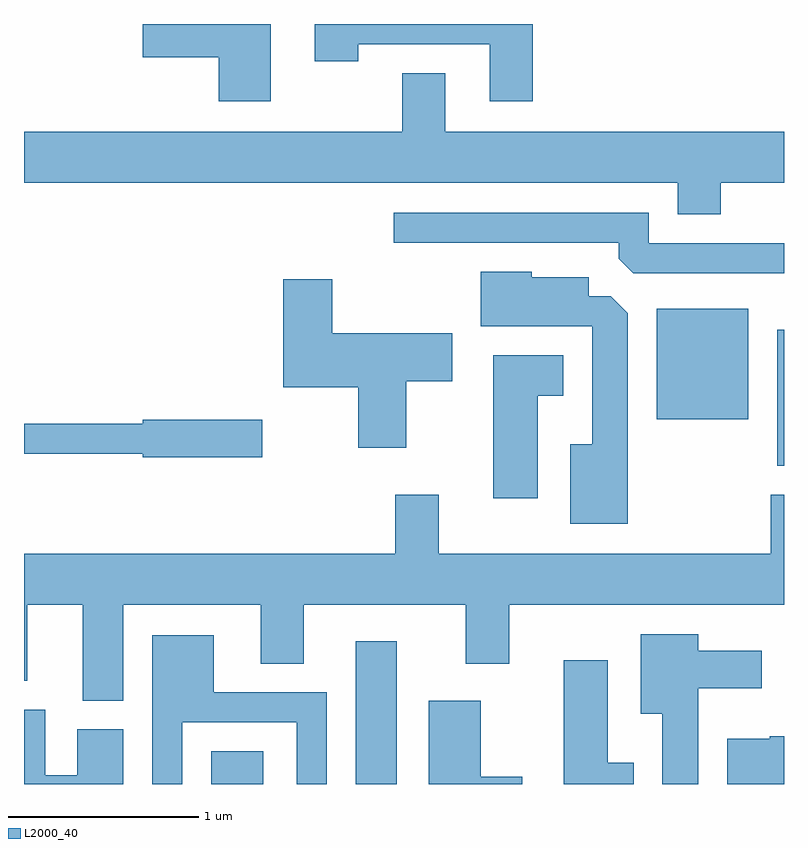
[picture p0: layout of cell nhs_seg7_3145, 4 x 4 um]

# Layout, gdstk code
import gdstk
lib = gdstk.Library(unit=1e-6, precision=1e-09)
def R(c, l, rs):  # rectangles x0, y0, x1, y1
    for r in rs: c.add(gdstk.rectangle(r[:2], r[2:], *l))
def P(c, l, *ps):  # polygons
    for p in ps: c.add(gdstk.Polygon(p, *l))
L2000_40 = (2000, 40)

nhs_seg7_3145 = lib.new_cell('nhs_seg7_3145')
R(nhs_seg7_3145, L2000_40, [(282.596,1722.252,282.869,1722.424), (283.356,1722.252,283.574,1723.004), (285.576,1723.926,285.611,1724.644), (284.941,1724.171,285.424,1724.754)])
P(nhs_seg7_3145, L2000_40, [(282.909,1726.252),(282.236,1726.252),(282.236,1726.076),(282.636,1726.076),(282.636,1725.846),(282.909,1725.846)],
  [(284.289,1726.252),(283.141,1726.252),(283.141,1726.056),(283.369,1726.056),(283.369,1726.146),(284.061,1726.146),(284.061,1725.846),(284.289,1725.846)],
  [(285.279,1725.416),(285.611,1725.416),(285.611,1725.684),(283.829,1725.684),(283.829,1725.994),(283.601,1725.994),(283.601,1725.684),(281.611,1725.684),(281.611,1725.416),(285.051,1725.416),(285.051,1725.251),(285.279,1725.251)],
  [(285.611,1725.099),(284.899,1725.099),(284.899,1725.259),(283.558,1725.259),(283.558,1725.101),(284.741,1725.101),(284.741,1725.017),(284.817,1724.941),(285.611,1724.941)],
  [(284.789,1724.729),(284.699,1724.819),(284.584,1724.819),(284.584,1724.919),(284.284,1724.919),(284.284,1724.949),(284.016,1724.949),(284.016,1724.661),(284.601,1724.661),(284.601,1724.039),(284.486,1724.039),(284.486,1723.621),(284.789,1723.621)],
  [(283.624,1724.371),(283.864,1724.371),(283.864,1724.624),(283.234,1724.624),(283.234,1724.909),(282.976,1724.909),(282.976,1724.341),(283.371,1724.341),(283.371,1724.021),(283.624,1724.021)],
  [(284.314,1724.296),(284.449,1724.296),(284.449,1724.509),(284.081,1724.509),(284.081,1723.756),(284.314,1723.756)],
  [(282.864,1724.169),(282.236,1724.169),(282.236,1724.149),(281.611,1724.149),(281.611,1723.991),(282.236,1723.991),(282.236,1723.971),(282.864,1723.971)],
  [(282.134,1723.196),(282.856,1723.196),(282.856,1722.886),(283.084,1722.886),(283.084,1723.196),(283.936,1723.196),(283.936,1722.886),(284.164,1722.886),(284.164,1723.196),(285.611,1723.196),(285.611,1723.774),(285.541,1723.774),(285.541,1723.464),(283.794,1723.464),(283.794,1723.774),(283.566,1723.774),(283.566,1723.464),(281.611,1723.464),(281.611,1722.796),(281.629,1722.796),(281.629,1723.196),(281.921,1723.196),(281.921,1722.691),(282.134,1722.691)],
  [(285.159,1722.756),(285.494,1722.756),(285.494,1722.954),(285.159,1722.954),(285.159,1723.039),(284.856,1723.039),(284.856,1722.621),(284.971,1722.621),(284.971,1722.252),(285.159,1722.252)],
  [(282.444,1722.576),(283.046,1722.576),(283.046,1722.252),(283.204,1722.252),(283.204,1722.734),(282.609,1722.734),(282.609,1723.034),(282.286,1723.034),(282.286,1722.252),(282.444,1722.252)],
  [(284.819,1722.364),(284.684,1722.364),(284.684,1722.904),(284.451,1722.904),(284.451,1722.252),(284.819,1722.252)],
  [(284.234,1722.289),(284.014,1722.289),(284.014,1722.689),(283.741,1722.689),(283.741,1722.252),(284.234,1722.252)],
  [(282.134,1722.539),(281.891,1722.539),(281.891,1722.299),(281.724,1722.299),(281.724,1722.644),(281.611,1722.644),(281.611,1722.252),(282.134,1722.252)],
  [(285.611,1722.504),(285.535,1722.504),(285.535,1722.489),(285.311,1722.489),(285.311,1722.252),(285.611,1722.252)])

lib.write_gds('nhs_seg7_3145.gds')
